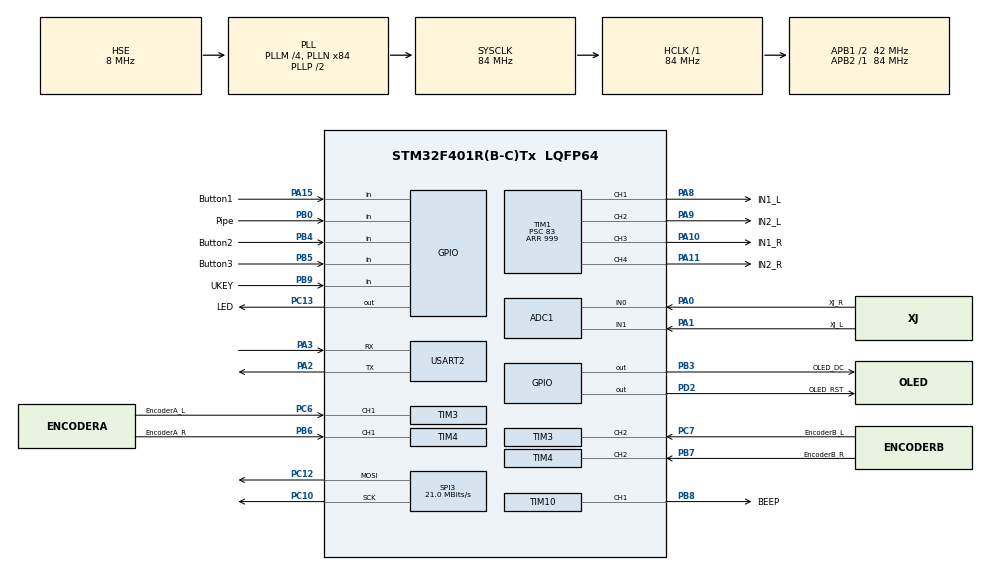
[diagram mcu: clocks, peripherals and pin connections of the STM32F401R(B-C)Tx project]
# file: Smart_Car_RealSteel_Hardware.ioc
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ADC1.Channel-5\#ChannelRegularConversion=ADC_CHANNEL_0
ADC1.Channel-6\#ChannelRegularConversion=ADC_CHANNEL_0
ADC1.ContinuousConvMode=ENABLE
ADC1.DMAContinuousRequests=ENABLE
ADC1.EOCSelection=ADC_EOC_SEQ_CONV
ADC1.NbrOfConversion=2
ADC1.NbrOfConversionFlag=1
ADC1.Rank-5\#ChannelRegularConversion=1
ADC1.Rank-6\#ChannelRegularConversion=2
ADC1.SamplingTime-5\#ChannelRegularConversion=ADC_SAMPLETIME_480CYCLES
ADC1.SamplingTime-6\#ChannelRegularConversion=ADC_SAMPLETIME_480CYCLES
ADC1.ScanConvMode=ENABLE
ADC1.master=1
Dma.ADC1.1.Direction=DMA_PERIPH_TO_MEMORY
Dma.ADC1.1.FIFOMode=DMA_FIFOMODE_DISABLE
Dma.ADC1.1.Instance=DMA2_Stream0
Dma.ADC1.1.MemDataAlignment=DMA_MDATAALIGN_WORD
Dma.ADC1.1.MemInc=DMA_MINC_ENABLE
Dma.ADC1.1.Mode=DMA_CIRCULAR
Dma.ADC1.1.PeriphDataAlignment=DMA_PDATAALIGN_WORD
Dma.ADC1.1.PeriphInc=DMA_PINC_DISABLE
Dma.ADC1.1.Priority=DMA_PRIORITY_LOW
Dma.Request0=SPI3_TX
Dma.Request1=ADC1
Dma.SPI3_TX.0.Direction=DMA_MEMORY_TO_PERIPH
Dma.SPI3_TX.0.FIFOMode=DMA_FIFOMODE_DISABLE
Dma.SPI3_TX.0.Instance=DMA1_Stream5
Dma.SPI3_TX.0.MemDataAlignment=DMA_MDATAALIGN_BYTE
Dma.SPI3_TX.0.MemInc=DMA_MINC_ENABLE
Dma.SPI3_TX.0.Mode=DMA_NORMAL
Dma.SPI3_TX.0.PeriphDataAlignment=DMA_PDATAALIGN_BYTE
Dma.SPI3_TX.0.PeriphInc=DMA_PINC_DISABLE
Dma.SPI3_TX.0.Priority=DMA_PRIORITY_LOW
Mcu.Family=STM32F4
Mcu.Name=STM32F401R(B-C)Tx
Mcu.Package=LQFP64
NVIC.DMA1_Stream5_IRQn=true\:0\:0\:false\:false\:true\:false\:true\:true
NVIC.DMA2_Stream0_IRQn=true\:0\:0\:false\:false\:true\:false\:true\:true
NVIC.PriorityGroup=NVIC_PRIORITYGROUP_4
NVIC.TIM1_BRK_TIM9_IRQn=true\:3\:0\:true\:false\:true\:true\:true\:true
NVIC.TIM1_TRG_COM_TIM11_IRQn=true\:0\:0\:false\:false\:true\:true\:true\:true
PA0-WKUP.GPIO_Label=XJ_R
PA0-WKUP.Signal=ADCx_IN0
PA1.GPIO_Label=XJ_L
PA1.Signal=ADCx_IN1
PA10.GPIO_Label=IN1_R
PA10.Signal=S_TIM1_CH3
PA11.GPIO_Label=IN2_R
PA11.Signal=S_TIM1_CH4
PA13.Mode=Serial_Wire
PA13.Signal=SYS_JTMS-SWDIO
PA14.Mode=Serial_Wire
PA14.Signal=SYS_JTCK-SWCLK
PA15.GPIO_Label=Button1
PA15.GPIO_PuPd=GPIO_PULLUP
PA15.Signal=GPIO_Input
PA2.Mode=Asynchronous
PA2.Signal=USART2_TX
PA3.Mode=Asynchronous
PA3.Signal=USART2_RX
PA8.GPIO_Label=IN1_L
PA8.Signal=S_TIM1_CH1
PA9.GPIO_Label=IN2_L
PA9.Signal=S_TIM1_CH2
PB0.GPIO_Label=Pipe
PB0.GPIO_PuPd=GPIO_PULLUP
PB0.Signal=GPIO_Input
PB3.GPIO_Label=OLED_DC
PB3.Signal=GPIO_Output
PB4.GPIO_Label=Button2
PB4.GPIO_PuPd=GPIO_PULLUP
PB4.Signal=GPIO_Input
PB5.GPIO_Label=Button3
PB5.GPIO_PuPd=GPIO_PULLUP
PB5.Signal=GPIO_Input
PB6.GPIO_Label=EncoderA_R
PB6.Signal=S_TIM4_CH1
PB7.GPIO_Label=EncoderB_R
PB7.Signal=S_TIM4_CH2
PB8.GPIO_Label=BEEP
PB8.GPIO_PuPd=GPIO_PULLUP
PB8.Signal=S_TIM10_CH1
PB9.GPIO_Label=UKEY
PB9.GPIO_PuPd=GPIO_PULLUP
PB9.Signal=GPIO_Input
PC10.Mode=TX_Only_Simplex_Unidirect_Master
PC10.Signal=SPI3_SCK
PC12.Mode=TX_Only_Simplex_Unidirect_Master
PC12.Signal=SPI3_MOSI
PC13-ANTI_TAMP.GPIO_Label=LED
PC13-ANTI_TAMP.PinState=GPIO_PIN_RESET
PC13-ANTI_TAMP.Signal=GPIO_Output
PC6.GPIO_Label=EncoderA_L
PC6.Signal=S_TIM3_CH1
PC7.GPIO_Label=EncoderB_L
PC7.Signal=S_TIM3_CH2
PD2.GPIO_Label=OLED_RST
PD2.PinState=GPIO_PIN_SET
PD2.Signal=GPIO_Output
PH0\ -\ OSC_IN.Mode=HSE-External-Oscillator
PH0\ -\ OSC_IN.Signal=RCC_OSC_IN
PH1\ -\ OSC_OUT.Mode=HSE-External-Oscillator
PH1\ -\ OSC_OUT.Signal=RCC_OSC_OUT
ProjectManager.HeapSize=0x200
ProjectManager.StackSize=0x400
ProjectManager.TargetToolchain=MDK-ARM V5.32
RCC.48MHZClocksFreq_Value=42000000
RCC.AHBFreq_Value=84000000
RCC.APB1CLKDivider=RCC_HCLK_DIV2
RCC.APB1Freq_Value=42000000
RCC.APB1TimFreq_Value=84000000
RCC.APB2Freq_Value=84000000
RCC.APB2TimFreq_Value=84000000
RCC.CortexFreq_Value=84000000
RCC.HCLKFreq_Value=84000000
RCC.HSE_VALUE=8000000
RCC.HSI_VALUE=16000000
RCC.LSE_VALUE=32768
RCC.PLLM=4
RCC.PLLN=84
RCC.PLLSourceVirtual=RCC_PLLSOURCE_HSE
RCC.SYSCLKFreq_VALUE=84000000
RCC.SYSCLKSource=RCC_SYSCLKSOURCE_PLLCLK
RCC.VCOOutputFreq_Value=168000000
SH.ADCx_IN0.0=ADC1_IN0,IN0
SH.ADCx_IN1.0=ADC1_IN1,IN1
SH.S_TIM10_CH1.0=TIM10_CH1,PWM Generation1 CH1
SH.S_TIM1_CH1.0=TIM1_CH1,PWM Generation1 CH1
SH.S_TIM1_CH2.0=TIM1_CH2,PWM Generation2 CH2
SH.S_TIM1_CH3.0=TIM1_CH3,PWM Generation3 CH3
SH.S_TIM1_CH4.0=TIM1_CH4,PWM Generation4 CH4
SH.S_TIM3_CH1.0=TIM3_CH1,Encoder_Interface
SH.S_TIM3_CH2.0=TIM3_CH2,Encoder_Interface
SH.S_TIM4_CH1.0=TIM4_CH1,Encoder_Interface
SH.S_TIM4_CH2.0=TIM4_CH2,Encoder_Interface
SPI3.CalculateBaudRate=21.0 MBits/s
SPI3.Direction=SPI_DIRECTION_2LINES
SPI3.Mode=SPI_MODE_MASTER
SPI3.VirtualType=VM_MASTER
TIM1.AutoReloadPreload=TIM_AUTORELOAD_PRELOAD_ENABLE
TIM1.Channel-PWM\ Generation1\ CH1=TIM_CHANNEL_1
TIM1.Channel-PWM\ Generation2\ CH2=TIM_CHANNEL_2
TIM1.Channel-PWM\ Generation3\ CH3=TIM_CHANNEL_3
TIM1.Channel-PWM\ Generation4\ CH4=TIM_CHANNEL_4
TIM1.Period=999
TIM1.Prescaler=83
TIM10.AutoReloadPreload=TIM_AUTORELOAD_PRELOAD_DISABLE
TIM10.Channel=TIM_CHANNEL_1
TIM10.Period=65535
TIM10.Prescaler=9
TIM11.AutoReloadPreload=TIM_AUTORELOAD_PRELOAD_ENABLE
TIM11.Channel=TIM_CHANNEL_1
TIM11.Period=999
TIM11.Prescaler=83
TIM3.EncoderMode=TIM_ENCODERMODE_TI12
TIM4.EncoderMode=TIM_ENCODERMODE_TI12
TIM9.Period=99
TIM9.Prescaler=8399
USART2.VirtualMode=VM_ASYNC
VP_TIM10_VS_ClockSourceINT.Mode=Enable_Timer
VP_TIM11_VS_ClockSourceINT.Mode=Enable_Timer
VP_TIM1_VS_ClockSourceINT.Mode=Internal
VP_TIM9_VS_ClockSourceINT.Mode=Internal
board=custom

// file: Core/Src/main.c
/* USER CODE BEGIN Header */
/**
  ******************************************************************************
  * @file           : main.c
  * @brief          : Main program body
  ******************************************************************************
  * @attention
  *
  * Copyright (c) 2023 STMicroelectronics.
  * All rights reserved.
  *
  * This software is licensed under terms that can be found in the LICENSE file
  * in the root directory of this software component.
  * If no LICENSE file comes with this software, it is provided AS-IS.
  *
  ******************************************************************************
  */
/* USER CODE END Header */
#include "main.h"
#include "adc.h"
#include "dma.h"
#include "spi.h"
#include "tim.h"
#include "usart.h"
#include "gpio.h"

/* USER CODE BEGIN Includes */
#include <stdio.h>
#include <stdlib.h>
#include <math.h>
#include "oled.h"	//只有一个OLED，所以片选CS管脚默认接地
#include "music_note.h"

/* USER CODE END Includes */

/* USER CODE BEGIN PD */
//用于PWM输出，演奏音符的定时器
#define NOTE_PWM_TIM         htim10
//PWM输出的通道
#define NOTE_PWM_CHANNEL     TIM_CHANNEL_1
//音符持续时间定时器
#define NOTE_CONTINUE_TIM    htim9

/* USER CODE END PD */

/* USER CODE BEGIN PV */
uint32_t Time_to_Stop=60000;//Car will stop 60000ms==60s after Run_Flag_Start.
float Kp = 3.98;
float Ki = 1.4;
float Kd = 0.6;
uint32_t t_ms_stop = 0;
uint16_t t_ms = 0;
uint16_t t_100us = 0;
uint16_t t_Run_Flag = 0,t_Debug_Flag = 0;
uint16_t oled_t_ms=0;
uint16_t t_500ms = 0;
int Timer = 0;			//时间
uint8_t speed = 0;		//当前PWM
short TargetSpeed = 10; //目标速度
volatile uint32_t ADC_Value[100];
uint8_t i;
uint8_t	Run_Flag=0,Run_Flag_Start=0,Debug_Flag=0,Debug_Flag_Start=0;
char buffer1[256] = {0};
char buffer2[256] = {0};
char buffer3[256] = {0};
char buffer4[256] = {0};
float XJ_L=0,XJ_R=0,Regulator1=0,Regulator2=0;
int iButtonCount_UKEY;//i代表int型变量，ButtonCount表示按键计数变量
int iButtonCount_Button1,iButtonCount_Button2,iButtonCount_Button3;
int iButtonFlag_UKEY;//i代表int型变量，ButtonFlag表示重按键标志，1代表重新按键，0为没有重新按键
int iButtonFlag_Button1,iButtonFlag_Button2,iButtonFlag_Button3,OLED_RST_Flag=1,OLED_Refresh=0;
int g_iButtonState_UKEY=0;//g是globle代表全局变量，会在其他地方引用；i代表int型变量，ButtonState表示按键标志，1代表按下，0代表松开
int g_iButtonState_Button1=0,g_iButtonState_Button2=0,g_iButtonState_Button3=0;
//用于音乐播放的全局变量
uint8_t Music_Volume;     //音量
uint8_t Music_Flag;       //切换音乐的标志位
uint8_t Music_Off=0;     	//音乐停止的标志位
uint8_t Cycle_Flag=0;     //单曲循环的标志位
uint8_t Music_List=0;     //音乐列表序号
uint16_t BGM_Length;      //BGM背景音乐的长度
Note_TypeDef *BGM_Current;      //指向当前BGM的指针
unsigned char MoleMusicVolum;   //音量,建议范围1~10,1大10小

/* USER CODE END PV */

void SystemClock_Config(void);

/* USER CODE BEGIN 0 */
void motor_pwm(uint8_t motor,int16_t pwm);
void motor_1khz(int16_t motor_L,int16_t motor_R);

//加入以下代码,支持printf函数,而不需要选择use MicroLIB
#if 1
#pragma import(__use_no_semihosting)
//use assert() with HAL
int _ttywrch(int ch)
{
    ch=ch;
 return ch;
}
//support stdio.h
struct __FILE
{
 int handle;
};
/* FILE is typedef'd in stdio.h */
FILE __stdout;
//定义_sys_exit()以避免使用半主机模式
void _sys_exit(int x)
{
 x = x;
}
//重定义fputc函数 with HAL
int fputc(int ch, FILE *f)//重定向printf到UART
{
 HAL_UART_Transmit(&huart2, (uint8_t *)&ch, 1, 0xFFFF);
 return ch;
}
#endif

/* USER CODE END 0 */

int main(void)
{

  /* MCU Configuration--------------------------------------------------------*/

  /* Reset of all peripherals, Initializes the Flash interface and the Systick. */
  HAL_Init();

  /* Configure the system clock */
  SystemClock_Config();

  /* Initialize all configured peripherals */
  MX_GPIO_Init();
  MX_DMA_Init();
  MX_TIM1_Init();
  MX_TIM3_Init();
  MX_TIM10_Init();
  MX_TIM11_Init();
  MX_ADC1_Init();
  MX_SPI3_Init();
  MX_TIM4_Init();
  MX_USART2_UART_Init();
  MX_TIM9_Init();
  /* USER CODE BEGIN 2 */
	MoleMusicVolum = 6;						//音量,建议范围1~10,1大10小
	enable_music_player();
	HAL_TIM_Base_Start_IT(&htim11);//开启定时器11中断
	HAL_TIM_PWM_Start_IT(&htim1,TIM_CHANNEL_1);//开启定时器1通道1PWM
	HAL_TIM_PWM_Start_IT(&htim1,TIM_CHANNEL_2);//开启定时器1通道2PWM
	HAL_TIM_PWM_Start_IT(&htim1,TIM_CHANNEL_3);//开启定时器1通道3PWM
	HAL_TIM_PWM_Start_IT(&htim1,TIM_CHANNEL_4);//开启定时器1通道4PWM
  HAL_TIM_Encoder_Start(&htim3,TIM_CHANNEL_ALL);//开启定时器3编码器捕获
  HAL_TIM_Encoder_Start(&htim4,TIM_CHANNEL_ALL);//开启定时器5编码器捕获
  HAL_UART_Receive_DMA(&huart2,(uint8_t*)&TargetSpeed,sizeof(TargetSpeed));//开启串口DMA接收，默认DMA为循环模式，千万不要放在循环里！！
  HAL_ADC_Start_DMA(&hadc1,(uint32_t*)&ADC_Value,100);
	OLED_Init();
//	sprintf(Kp_txt, "KP:%4.2f", Kp);
//	sprintf(Ki_txt, "Ki:%4.2f", Ki);
//	sprintf(Kd_txt, "Kd:%4.2f", Kd);

  /* USER CODE END 2 */

  /* Infinite loop */
  /* USER CODE BEGIN WHILE */
  while (1)
  {
//		HAL_GPIO_TogglePin(LED_GPIO_Port,LED_Pin);
//		HAL_Delay(100);
		for(i = 0,Regulator1 = 0,Regulator2 = 0,XJ_L=0,XJ_R=0;i < 60;)//100
		{
			XJ_L += ADC_Value[i++];
			XJ_R += ADC_Value[i++];
			Regulator1 += ADC_Value[i++];
			Regulator2 += ADC_Value[i++];
		}
		XJ_L /= 15;//25
		XJ_R /= 15;
		Regulator1 /= 15;
		Regulator2 /= 15;
//		sprintf(buff,"V = %f ",Regulator1/4096.0*3.3);/4.2
		OLED_Reset_key();		//定时器中断使能每按下按键触发一次为期6毫秒的复位与初始化
		if(OLED_Refresh>123)//每123ms刷新一次
		{
			sprintf(buffer1,"XJ_L = %4.2f ",XJ_L);
			sprintf(buffer2,"XJ_R = %4.2f ",XJ_R);
			sprintf(buffer3,"R1 = %4.2f ",Regulator1);
			sprintf(buffer4,"R2 = %4.2f ",Regulator2);
			OLED_Show_String(0,0,buffer1,BIG);
			OLED_Show_String(0,2,buffer2,BIG);
			OLED_Show_String(0,4,buffer3,BIG);
			OLED_Show_String(0,6,buffer4,BIG);
//			OLED_Show_String(0,0,"3.14",BIG);
        //函数中

//			OLED_Show_String(0,0,Kp_txt,BIG);
//			OLED_Show_String(0,3,Ki_txt,BIG);
//			OLED_Show_String(0,6,Kd_txt,BIG);
			OLED_Refresh=0;
		}
		if(Run_Flag_Start)
		{
			if(fabs(XJ_L-XJ_R)>=1600)
			{
				if(XJ_L>XJ_R)
				{
					motor_1khz(-500,800);
				}
				else
				{
					motor_1khz(800,-500);
				}
			}
			else if(fabs(XJ_L-XJ_R)>=1000)
			{
				if(XJ_L>XJ_R)
				{
					motor_1khz(-400,760);
				}
				else
				{
					motor_1khz(760,-400);
				}
			}
			else if(fabs(XJ_L-XJ_R)>=600)
			{
				if(XJ_L>XJ_R)
				{
					motor_1khz(0,600);
				}
				else
				{
					motor_1khz(600,0);
				}
			}
			else if(fabs(XJ_L-XJ_R)>=300)
			{
				if(XJ_L>XJ_R)
				{
					motor_1khz(150,600);
				}
				else
				{
					motor_1khz(600,150);
				}
			}
			else if(fabs(XJ_L-XJ_R)>=200)
			{
				if(XJ_L>XJ_R)
				{
					motor_1khz(300,600);
				}
				else
				{
					motor_1khz(600,300);
				}
			}
			else if(fabs(XJ_L-XJ_R)>=100)
			{
				if(XJ_L>XJ_R)
				{
					motor_1khz(450,600);
				}
				else
				{
					motor_1khz(600,450);
				}
			}
			else if(XJ_L<50&&XJ_R<50)
			{
				motor_1khz(0,0);
			}
			else
			{
				motor_1khz(880,880);
			}
			if(t_ms_stop>Time_to_Stop)
			{
				motor_1khz(0,0);

//				HAL_GPIO_WritePin(Buzzer_GPIO_Port,Buzzer_Pin,GPIO_PIN_RESET);

				HAL_GPIO_TogglePin(LED_GPIO_Port,LED_Pin);
				Run_Flag=!Run_Flag;
				t_Run_Flag=0;
				motor_1khz(0,0);
				t_500ms=0;
				t_ms_stop=0;
			}
		}
		if(Debug_Flag_Start)
		{
			//motor_1khz(-400,400);

		}
		//HAL_GPIO_TogglePin(LED_GPIO_Port,LED_Pin);
		if(g_iButtonState_UKEY == 1)
	  {
		  HAL_GPIO_TogglePin(LED_GPIO_Port,LED_Pin);
			if(Music_Volume==10)
				Music_Volume=1;
			else
				Music_Volume++;
		  g_iButtonState_UKEY=0;
	  }
//	  else
//	  {
//		  HAL_GPIO_WritePin(LED_GPIO_Port, LED_Pin,GPIO_PIN_SET);
//	  }
	  if(g_iButtonState_Button1 == 1)
	  {
			music_player(MoleMusicVolum,SUPER_MARIO_MUSIC);
		  HAL_GPIO_TogglePin(LED_GPIO_Port,LED_Pin);
			Run_Flag=!Run_Flag;
			t_Run_Flag=0;
		  g_iButtonState_Button1=0;
			motor_1khz(0,0);
			t_500ms=0;
	  }
//		if(Run_Flag)
//		{
//			if(t_Run_Flag<500)
//
//
////				HAL_GPIO_WritePin(Buzzer_GPIO_Port,Buzzer_Pin,GPIO_PIN_RESET);
//
//
//			else if(t_Run_Flag<1000)
//
//
////				HAL_GPIO_WritePin(Buzzer_GPIO_Port,Buzzer_Pin,GPIO_PIN_SET);
//
//
//			else if(t_Run_Flag<1500)
//
//
////				HAL_GPIO_WritePin(Buzzer_GPIO_Port,Buzzer_Pin,GPIO_PIN_RESET);
//
//
//			else if(t_Run_Flag<2000)
//
//
////				HAL_GPIO_WritePin(Buzzer_GPIO_Port,Buzzer_Pin,GPIO_PIN_SET);
//
//
//			else if(t_Run_Flag<2500)
//			{
//				t_ms_stop=0;
//				Run_Flag_Start=1;
//
//
////				HAL_GPIO_WritePin(Buzzer_GPIO_Port,Buzzer_Pin,GPIO_PIN_RESET);
//
//
//			}
//			else if(t_Run_Flag<3000)
//
//
////				HAL_GPIO_WritePin(Buzzer_GPIO_Port,Buzzer_Pin,GPIO_PIN_SET);
//
//
//			else
//			{
//				t_Run_Flag=65432;
//				//Run_Flag_Start=1;*************************************************************
//			}
//		}
//		else
//		{
//			Run_Flag_Start=0;
//			t_Run_Flag=65432;
//		}
	  if(g_iButtonState_Button2 == 1)
	  {
			if(Music_List==5)
				Music_List=0;
			else
				Music_List++;
			if(Music_List==0)
				music_player(MoleMusicVolum,POLICE_MUSIC);
			else if(Music_List==1)
				music_player(MoleMusicVolum,TWO_TIGERS_MUSIC);
			else if(Music_List==2)
				music_player(MoleMusicVolum,SUPER_MARIO_MUSIC);
			else if(Music_List==3)
				music_player(MoleMusicVolum,DOU_DI_ZHU_MUSIC);
			else if(Music_List==4)
				music_player(MoleMusicVolum,PEPPA_PIG_MUSIC);
			else
				music_player(MoleMusicVolum,AMBULANCE_MUSIC);
		  HAL_GPIO_TogglePin(LED_GPIO_Port,LED_Pin);
			Debug_Flag=!Debug_Flag;
			t_Debug_Flag=0;
		  g_iButtonState_Button2=0;
			motor_1khz(0,0);
			t_500ms=0;

//		  printf("\r\n********ADC-DMA-Example********\r\n");
//		  printf("XJ_L_Value=%1.3fV\r\n",XJ_L*3.3f/4096);
//		  printf("XJ_R_Value=%1.3fV\r\n",XJ_R*3.3f/4096);
//		  printf("R1_Value=%1.3fV\r\n",Regulator1*3.3f/4096);
//		  printf("R2_Value=%1.3fV\r\n",Regulator2*3.3f/4096);
	  }
//		if(Debug_Flag)
//		{
//			if(t_Debug_Flag<500)
//				HAL_GPIO_WritePin(Buzzer_GPIO_Port,Buzzer_Pin,GPIO_PIN_RESET);
//			else if(t_Debug_Flag<1000)
//				HAL_GPIO_WritePin(Buzzer_GPIO_Port,Buzzer_Pin,GPIO_PIN_SET);
//			else if(t_Debug_Flag<1500)
//				HAL_GPIO_WritePin(Buzzer_GPIO_Port,Buzzer_Pin,GPIO_PIN_RESET);
//			else if(t_Debug_Flag<2000)
//				HAL_GPIO_WritePin(Buzzer_GPIO_Port,Buzzer_Pin,GPIO_PIN_SET);
//			else if(t_Debug_Flag<2500)
//			{
//				Debug_Flag_Start=1;
//				HAL_GPIO_WritePin(Buzzer_GPIO_Port,Buzzer_Pin,GPIO_PIN_RESET);
//			}
//			else if(t_Debug_Flag<3000)
//				HAL_GPIO_WritePin(Buzzer_GPIO_Port,Buzzer_Pin,GPIO_PIN_SET);
//			else
//			{
//				t_Debug_Flag=65432;
//				Debug_Flag_Start=1;//*************************************************************
//			}
//		}
//		else
//		{
//			Debug_Flag_Start=0;
//			t_Debug_Flag=65432;
//		}
	  if(g_iButtonState_Button3 == 1)
	  {
			Music_Off=!Music_Off;
			if(Music_Off)
				Music_Flag=MUSIC_FINISH;
			else
			{
				Cycle_Flag=!Cycle_Flag;
				Music_Flag=MUSIC_BEGIN;
			}
			OLED_RST_Flag=1;
			oled_t_ms=0;
		  g_iButtonState_Button3=0;
	  }

    /* USER CODE END WHILE */

  }
}

void SystemClock_Config(void)
{
  RCC_OscInitTypeDef RCC_OscInitStruct = {0};
  RCC_ClkInitTypeDef RCC_ClkInitStruct = {0};

  /** Configure the main internal regulator output voltage
  */
  __HAL_RCC_PWR_CLK_ENABLE();
  __HAL_PWR_VOLTAGESCALING_CONFIG(PWR_REGULATOR_VOLTAGE_SCALE2);

  /** Initializes the RCC Oscillators according to the specified parameters
  * in the RCC_OscInitTypeDef structure.
  */
  RCC_OscInitStruct.OscillatorType = RCC_OSCILLATORTYPE_HSE;
  RCC_OscInitStruct.HSEState = RCC_HSE_ON;
  RCC_OscInitStruct.PLL.PLLState = RCC_PLL_ON;
  RCC_OscInitStruct.PLL.PLLSource = RCC_PLLSOURCE_HSE;
  RCC_OscInitStruct.PLL.PLLM = 4;
  RCC_OscInitStruct.PLL.PLLN = 84;
  RCC_OscInitStruct.PLL.PLLP = RCC_PLLP_DIV2;
  RCC_OscInitStruct.PLL.PLLQ = 4;
  if (HAL_RCC_OscConfig(&RCC_OscInitStruct) != HAL_OK)
  {
    Error_Handler();
  }

  /** Initializes the CPU, AHB and APB buses clocks
  */
  RCC_ClkInitStruct.ClockType = RCC_CLOCKTYPE_HCLK|RCC_CLOCKTYPE_SYSCLK
                              |RCC_CLOCKTYPE_PCLK1|RCC_CLOCKTYPE_PCLK2;
  RCC_ClkInitStruct.SYSCLKSource = RCC_SYSCLKSOURCE_PLLCLK;
  RCC_ClkInitStruct.AHBCLKDivider = RCC_SYSCLK_DIV1;
  RCC_ClkInitStruct.APB1CLKDivider = RCC_HCLK_DIV2;
  RCC_ClkInitStruct.APB2CLKDivider = RCC_HCLK_DIV1;

  if (HAL_RCC_ClockConfig(&RCC_ClkInitStruct, FLASH_LATENCY_2) != HAL_OK)
  {
    Error_Handler();
  }
}

/* USER CODE BEGIN 4 */
void motor_pwm(uint8_t motor,int16_t pwm){
	if(motor == 1)			//motor：LF 2  1 RF
	{										//				            pwm[-1000,1000]
		if(pwm<0)//clockwise       LB 3  4 RB
		{
			if(pwm<-1000)
				pwm=-1000;
			__HAL_TIM_SetCompare(&htim1,TIM_CHANNEL_1,1000+pwm);
			__HAL_TIM_SetCompare(&htim1,TIM_CHANNEL_2,1000);
		}
		else//anticlockwise
		{
			if(pwm>1000)
				pwm=1000;
			__HAL_TIM_SetCompare(&htim1,TIM_CHANNEL_1,1000);
			__HAL_TIM_SetCompare(&htim1,TIM_CHANNEL_2,1000-pwm);
		}
	}
	else if(motor == 2)
	{
		if(pwm<0)//clockwise
		{
			if(pwm<-1000)
				pwm=-1000;
			__HAL_TIM_SetCompare(&htim1,TIM_CHANNEL_3,1000+pwm);
			__HAL_TIM_SetCompare(&htim1,TIM_CHANNEL_4,1000);
		}
		else//anticlockwise
		{
			if(pwm>1000)
				pwm=1000;
			__HAL_TIM_SetCompare(&htim1,TIM_CHANNEL_3,1000);
			__HAL_TIM_SetCompare(&htim1,TIM_CHANNEL_4,1000-pwm);
		}
	}
}

void motor_1khz(int16_t motor_L,int16_t motor_R)
{
	motor_pwm(1,motor_L);
	motor_pwm(2,motor_R);
}

/**
  * @brief 使能音乐播放器
  * @param
  * @note  使能不代表立即播放音乐
  * @retval None
  */
void enable_music_player(void)
{
  HAL_TIM_Base_Start_IT(&NOTE_CONTINUE_TIM);
  HAL_TIM_PWM_Start(&NOTE_PWM_TIM,NOTE_PWM_CHANNEL);
}

/**
  * @brief 播放1个音符，根据音调让蜂鸣器发出声音
  * @param 音调（频率），音量
  * @note  音量建议范围1~10，1是最大，10几乎听不清了。
  *        NOTE_PWM_TIM是用于输出PWM的定时器
  *        NOTE_PWM_CHANNEL是该定时器中用于输出PWM的通道
  * @retval None
  */
void play_a_note(uint16_t tone,uint8_t volumeLevel)
{
	uint16_t autoReload;
	if((tone<20)||(tone>20000))//太低与太高的频率都当做无声
	{
    //比较值设置为0，静音
		__HAL_TIM_SET_COMPARE(&NOTE_PWM_TIM,NOTE_PWM_CHANNEL,0);
		__HAL_TIM_SET_COUNTER(&NOTE_PWM_TIM,0);
	}
	else
	{
    //根据频率计算自动重装值
		autoReload=(BEEP_TIM_CLOCK/tone)-1;
    //设置自动重装值
		__HAL_TIM_SET_AUTORELOAD(&NOTE_PWM_TIM,autoReload);
    //将自动重装值右移，成倍变小，作为比较值
		__HAL_TIM_SET_COMPARE(&NOTE_PWM_TIM,NOTE_PWM_CHANNEL,autoReload>>volumeLevel);
    //在不使用缓冲的情况下，必须把计数值清零
		__HAL_TIM_SET_COUNTER(&NOTE_PWM_TIM,0);
	}
}

/**
  * @brief 以阻塞的方式演奏两只老虎
  * @param 音量
  * @note  音量建议范围1~10，1是最大，10几乎听不清了
  * @retval None
  */
void play_music_block(uint8_t volume_level)
{
  //两只老虎乐谱
  const Note_TypeDef TwoTigersMusic[]=
  {
    {0,37},//第一个元素的时间值为数组长度 音符数量比数组长度小1
    {CM1,40},{CM2,40},{CM3,40},{CM1,40},
    {CM1,40},{CM2,40},{CM3,40},{CM1,40},
    {CM3,40},{CM4,40},{CM5,40},{0,40},
    {CM3,40},{CM4,40},{CM5,40},{0,40},
    {CM5,20},{CM6,20},{CM5,20},{CM4,20},{CM3,40},{CM1,40},
    {CM5,20},{CM6,20},{CM5,20},{CM4,20},{CM3,40},{CM1,40},
    {CM1,40},{CL5,40},{CM1,40},{0,40},
    {CM1,40},{CL5,40},{CM1,40},{0,40},
  };

	int i = 1 ;
  int length = TwoTigersMusic[0].time;
	while(i < length) //i<length表示当前音乐还没有播放完
	{
	  //从乐谱数组中拿出一个音符并播放
    play_a_note(TwoTigersMusic[i].tone,volume_level);
    //根据乐谱中的某个音符的持续时间进行阻塞式延时
    HAL_Delay(TwoTigersMusic[i].time * 10);
    i++;
	}
}

/**
  * @brief 播放背景音乐
  * @param 音量，乐谱数组
  * @note  音量建议范围1~10，1是最大，10几乎听不清了
  *        此函数无需在别的源文件中调用
  * @retval None
  */
static void play_BGM(uint8_t volume_level,Note_TypeDef* BGM)
{
  Music_Flag = MUSIC_BEGIN;    //设置更换BGM标志
  BGM_Length = BGM[0].time;
  BGM_Current = BGM;
  Music_Volume = volume_level;
	//printf("播放背景音乐。\n");
}

/**
  * @brief 背景音乐的处理函数
  * @param None
  * @note  根据全局标志位Music_Flag的状态，判断是否需要停止播放音乐
  * @retval None
  */
static void BGM_handler(void)
{
	//静态变量，函数执行完也不会释放
  static uint16_t i = 0;//索引，表示乐谱的第几个音符
	static uint16_t passed_time = 0;//当前音符已经播放了多少倍10毫秒的时间
	static uint16_t curretnt_note_time = 0; //当前音符需要持续多少倍10毫秒的时间
	passed_time++;//每次调用此函数，则此变量+1，则说明已经过了10毫秒
	//如果当前的音符没有演奏完毕，则不需要做任何操作，继续演奏即可
	if(passed_time >= curretnt_note_time) //如果当前音符演奏完毕
	{
		if(Music_Flag == MUSIC_BEGIN)//如果第一次播放BGM或更换BGM，索引从头开始
		{
			i = 1;
			Music_Flag = MUSIC_CONTINUE;
		}

		if(i < BGM_Length) //当前BGM未演奏完，则演奏下一个音符
		{
			play_a_note(BGM_Current[i].tone,Music_Volume);
			curretnt_note_time = BGM_Current[i].time; //设置当前音符持续时间
			i++;
		}
		else//演奏结束
		{
			i = 1;
			if(!Cycle_Flag)
				Music_Flag = MUSIC_FINISH;
		}
		passed_time = 0;//时间重置
	}
}

/**
  * @brief 背景音乐播放回调函数，在定时器的中断函数中，每隔10ms调用一次
  * @param
  * @note  根据全局标志位Music_Flag的状态，判断是否需要停止播放音乐
  * @retval None
  */
void music_callback(void)
{
	if((Music_Flag == MUSIC_BEGIN)||(Music_Flag == MUSIC_CONTINUE))
	 BGM_handler();
 else//播放静止音符
	 play_a_note(0,Music_Volume);
}

/**
  * @brief 音乐播放器
  * @param 音量，音乐的序号
  * @note  音量建议范围1~10，1是最大，10几乎听不清了
  * @retval None
  */
void music_player(uint8_t volume_level , enum MusicList num)
{
	switch (num)
	{
		case CREATE_MUSIC:play_BGM(volume_level,(Note_TypeDef *)CreatMusic);break;
		case MISS_MUSIC:play_BGM(volume_level,(Note_TypeDef *)MissMusic);break;
		case TWO_TIGERS_MUSIC:play_BGM(volume_level,(Note_TypeDef *)TwoTigersMusic);break;
		case PEPPA_PIG_MUSIC:play_BGM(volume_level,(Note_TypeDef *)PeppaPigMusic);break;
		case SUPER_MARIO_MUSIC:play_BGM(volume_level,(Note_TypeDef *)SuperMarioMusic);break;
		case DOU_DI_ZHU_MUSIC:play_BGM(volume_level,(Note_TypeDef *)DouDiZhuMusic);break;
		case POLICE_MUSIC:play_BGM(volume_level,(Note_TypeDef *)PoliceMusic);break;
		case AMBULANCE_MUSIC:play_BGM(volume_level,(Note_TypeDef *)AmbulanceMusic);break;
	}
}

//定时器溢出中断处理函数
void HAL_TIM_PeriodElapsedCallback(TIM_HandleTypeDef *htim)
{
	/*判断当进入定时器11中断时*/
	if(htim->Instance == TIM11)
	{
		t_ms++;
		oled_t_ms++;
		t_Run_Flag++;
		t_Debug_Flag++;
		t_ms_stop++;
		OLED_Refresh++;
		if(t_ms>=500)
		{
			t_500ms++;
			t_ms=0;
			printf("hello world\n");
		}

/*******************************************************************************************************************/
		if( HAL_GPIO_ReadPin(UKEY_GPIO_Port,UKEY_Pin) == GPIO_PIN_RESET )//如果引脚检测到          低电平
		{
			iButtonCount_UKEY++; //按键按下，计数iButtonCount加1
			if(iButtonCount_UKEY>=7) //1ms中断服务函数里运行一次，iButtonCount大于等于16，即按键已稳定按下16ms
			{
				if(iButtonFlag_UKEY==0) //判断有没有重按键，1为有，0为没有
				{
					g_iButtonState_UKEY=1; //设置按键标志
					iButtonCount_UKEY=0;
					iButtonFlag_UKEY=1; //设置重按键标志
				}
				else //如果重按键，则重新计数
					iButtonCount_UKEY=0;
			}
			else //如果没有稳定按下7ms，则代表没有按下按键
				g_iButtonState_UKEY=0;
		}
		else //如果一直无检测到低电平，即一直无按键按下
		{
			iButtonCount_UKEY=0; //清零iButtonCount
			g_iButtonState_UKEY=0; //清除按键标志
			iButtonFlag_UKEY=0; //清除重按键标志
		}
		if( HAL_GPIO_ReadPin(Button1_GPIO_Port,Button1_Pin) == GPIO_PIN_SET )//如果引脚检测到          高电平
		{
			iButtonCount_Button1++; //按键按下，计数iButtonCount加1
			if(iButtonCount_Button1>=7) //1ms中断服务函数里运行一次，iButtonCount大于等于7，即按键已稳定按下7ms
			{
				if(iButtonFlag_Button1==0) //判断有没有重按键，1为有，0为没有
				{
					g_iButtonState_Button1=1; //设置按键标志
					iButtonCount_Button1=0;
					iButtonFlag_Button1=1; //设置重按键标志
				}
				else //如果重按键，则重新计数
					iButtonCount_Button1=0;
			}
			else //如果没有稳定按下7ms，则代表没有按下按键
				g_iButtonState_Button1=0;
		}
		else //如果一直无检测到低电平，即一直无按键按下
		{
			iButtonCount_Button1=0; //清零iButtonCount
			g_iButtonState_Button1=0; //清除按键标志
			iButtonFlag_Button1=0; //清除重按键标志
		}
		if( HAL_GPIO_ReadPin(Button2_GPIO_Port,Button2_Pin) == GPIO_PIN_SET )//如果引脚检测到          高电平
		{
			iButtonCount_Button2++; //按键按下，计数iButtonCount加1
			if(iButtonCount_Button2>=7) //1ms中断服务函数里运行一次，iButtonCount大于等于7，即按键已稳定按下7ms
			{
				if(iButtonFlag_Button2==0) //判断有没有重按键，1为有，0为没有
				{
					g_iButtonState_Button2=1; //设置按键标志
					iButtonCount_Button2=0;
					iButtonFlag_Button2=1; //设置重按键标志
				}
				else //如果重按键，则重新计数
					iButtonCount_Button2=0;
			}
			else //如果没有稳定按下7ms，则代表没有按下按键
				g_iButtonState_Button2=0;
		}
		else //如果一直无检测到低电平，即一直无按键按下
		{
			iButtonCount_Button2=0; //清零iButtonCount
			g_iButtonState_Button2=0; //清除按键标志
			iButtonFlag_Button2=0; //清除重按键标志
		}
		if( HAL_GPIO_ReadPin(Button3_GPIO_Port,Button3_Pin) == GPIO_PIN_SET )//如果引脚检测到          高电平
		{
			iButtonCount_Button3++; //按键按下，计数iButtonCount加1
			if(iButtonCount_Button3>=7) //1ms中断服务函数里运行一次，iButtonCount大于等于7，即按键已稳定按下7ms
			{
				if(iButtonFlag_Button3==0) //判断有没有重按键，1为有，0为没有
				{
					g_iButtonState_Button3=1; //设置按键标志
					iButtonCount_Button3=0;
					iButtonFlag_Button3=1; //设置重按键标志
				}
				else //如果重按键，则重新计数
					iButtonCount_Button3=0;
			}
			else //如果没有稳定按下7ms，则代表没有按下按键
				g_iButtonState_Button3=0;
		}
		else //如果一直无检测到低电平，即一直无按键按下
		{
			iButtonCount_Button3=0; //清零iButtonCount
			g_iButtonState_Button3=0; //清除按键标志
			iButtonFlag_Button3=0; //清除重按键标志
		}
	}
	 if(htim == &NOTE_CONTINUE_TIM)
  {
    music_callback();
  }

}
/* USER CODE END 4 */

void Error_Handler(void)
{
  __disable_irq();
  while (1)
  {
  }
}
